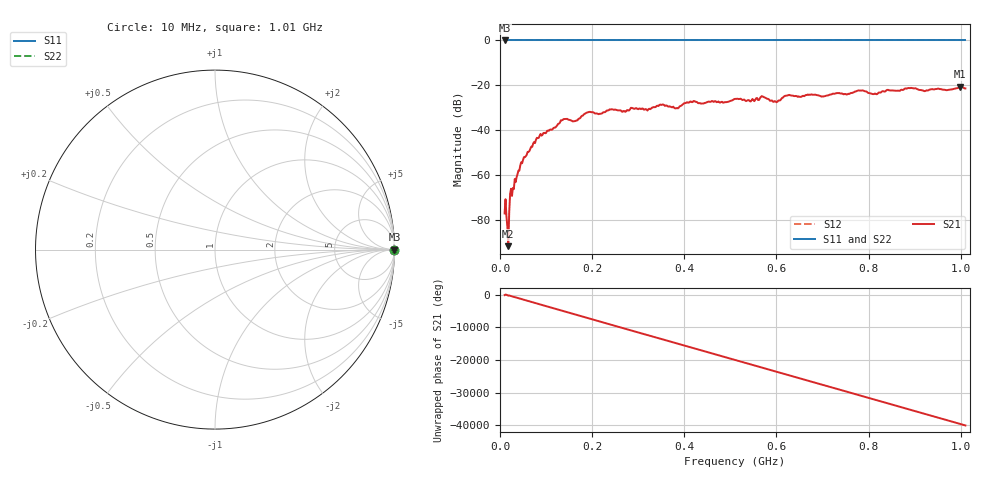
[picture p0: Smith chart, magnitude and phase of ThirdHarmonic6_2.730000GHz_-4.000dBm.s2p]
! 8/17/2025 6:42:26 AM
! C:\ANRITSUVNA\TEMP\TEMP.S2P
! CHANNEL.1
! TR.MEASUREMENT
! RAW.DATA
! RF.CORRECTION.OFF
! AVERAGING.OFF
! IF.BANDWIDTH: 5KHZ
! SWEEPTYPE:  FREQ.SWEEP(Linear)
! Reference Plane Port Info
! PORT:  PORT1  PORT2
! DISTANCE:  0  m  0  m
! TIME:  0  s  0  s
! PHASE.OFFSET:  0  deg.  0  deg.
! LOSS:  0  dB  0  dB
! REF.LOSS:  0  dB  0  dB
! REF.FREQ:  0  Hz  0  Hz
! Power Info
! POWER:  -20  dBm  -20  dBm
! EFF.POWER:  -20  dBm  -20  dBm
! SOURCE.ATTEN:  0  dB  0  dB
! TEST.ATTEN:  0  dB  0  dB
# GHZ S RI R 50.0
! FREQ.GHZ  S11RE  S11IM  S21RE  S21IM  S12RE  S12IM  S22RE  S22IM
!; PortSelection: Port_12
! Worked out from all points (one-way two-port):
!   501 points, 10 MHz to 1.01 GHz, reference 50 ohm
!   highest |S21| = -20.64 dB at 998 MHz (marker M1); lowest = -91.7 dB at 18 MHz (marker M2)
!   lowest |S11| = 0.0 dB at 10 MHz (marker M3)
!   |S11| at or under -10 dB: nowhere
!   |S22| runs from 0.0 to 0.0 dB; largest |S21 - S12| = 1.1
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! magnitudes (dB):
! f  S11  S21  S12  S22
! 10 MHz  0.0  -77.1  0.0  0.0
! 18 MHz  0.0  -91.7  0.0  0.0
! 26 MHz  0.0  -69.3  0.0  0.0
! 42 MHz  0.0  -58.0  0.0  0.0
! 76 MHz  0.0  -45.7  0.0  0.0
! 136 MHz  0.0  -35.5  0.0  0.0
! 162 MHz  0.0  -36.0  0.0  0.0
! 178 MHz  0.0  -33.6  0.0  0.0
! 192 MHz  0.0  -31.9  0.0  0.0
! 322 MHz  0.0  -30.7  0.0  0.0
! 344 MHz  0.0  -29.2  0.0  0.0
! 384 MHz  0.0  -30.1  0.0  0.0
! 416 MHz  0.0  -27.5  0.0  0.0
! 510 MHz  0.0  -26.0  0.0  0.0
! 570 MHz  0.0  -24.9  0.0  0.0
! 598 MHz  0.0  -27.2  0.0  0.0
! 624 MHz  0.0  -24.5  0.0  0.0
! 678 MHz  0.0  -24.2  0.0  0.0
! 814 MHz  0.0  -23.6  0.0  0.0
! 844 MHz  0.0  -22.2  0.0  0.0
! 998 MHz  0.0  -20.6  0.0  0.0
! 1.01 GHz  0.0  -21.4  0.0  0.0
